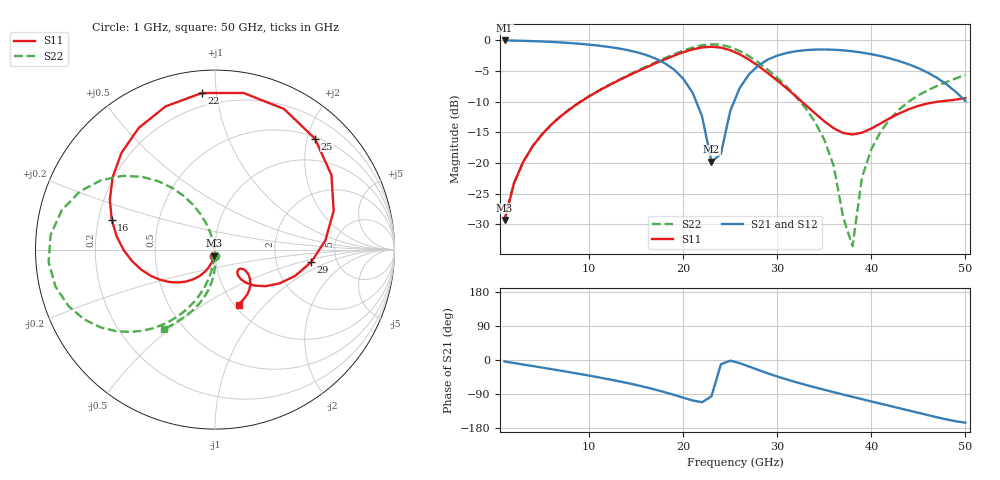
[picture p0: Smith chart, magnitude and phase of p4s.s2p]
! Impedora 0.10.0 via model, case p4s (fullwave/cases.json), 2026-11-19
! Via with a stub: port at the third plane, open stub through a 1.2 mm plane pair: ports in the antipads.
! Ports: 1 = upper end, 2 = lower end, 50 ohm.
! Compared with the fine 3D mesh.
# Hz S RI R 50
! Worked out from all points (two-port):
!   50 points, 1 GHz to 50 GHz, reference 50 ohm
!   highest |S21| = -0.01 dB at 1 GHz (marker M1); lowest = -19.8 dB at 23 GHz (marker M2)
!   |S21| within 3 dB of the highest: start of sweep to 17.11 GHz; 29.16 GHz to 42.14 GHz (12.97 GHz wide, 36.4 % of centre)
!   lowest |S11| = -29.3 dB at 1 GHz (marker M3), VSWR 1.07, Z = 49.4 - j3.37 ohm
!   |S11| at or under -10 dB: start of sweep to 9.091 GHz; 32.61 GHz to 47.1 GHz (14.49 GHz wide, 36.3 % of centre)
!   |S22| runs from -33.6 to -0.6 dB; largest |S21 - S12| = 0
!   S11 on the Smith chart (normalised r, x): 1 GHz: 0.99, -0.07; 16 GHz: 0.26, +0.13; 22 GHz: 0.12, +0.91; 25 GHz: 0.53, +2.14; 29 GHz: 3.22, -0.63; 50 GHz: 1.04, -0.73
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1e9  -0.00445 -0.034  0.9959 -0.0696  0.9959 -0.0696  -0.00234 -0.0342
2e9  -0.0156 -0.0668  0.9858 -0.1384  0.9858 -0.1384  -0.00726 -0.0682
4e9  -0.0574 -0.1248  0.9475 -0.2722  0.9475 -0.2722  -0.0249 -0.1351
1e10  -0.3067 -0.168  0.6939 -0.6084  0.6939 -0.6084  -0.1447 -0.3202
1.6e10  -0.5754 0.1665  0.2386 -0.7242  0.2386 -0.7242  -0.4068 -0.4526
1.8e10  -0.5706 0.403  0.0604 -0.6511  0.0604 -0.6511  -0.5513 -0.4544
2e10  -0.4246 0.6781  -0.0801 -0.4799  -0.0801 -0.4799  -0.7276 -0.3894
2.2e10  -0.0738 0.8724  -0.0877 -0.2232  -0.0877 -0.2232  -0.8885 -0.2068
2.3e10  0.1593 0.8727  -0.0104 -0.1017  -0.0104 -0.1017  -0.9269 -0.0689
2.4e10  0.3846 0.7836  0.1166 -0.0228  0.1166 -0.0228  -0.916 0.0817
2.5e10  0.557 0.6182  0.2666 -0.00819  0.2666 -0.00819  -0.8533 0.2202
2.6e10  0.6489 0.4147  0.4051 -0.0592  0.4051 -0.0592  -0.7519 0.3249
2.9e10  0.536 -0.0695  0.5698 -0.4036  0.5698 -0.4036  -0.4076 0.4055
3.1e10  0.3586 -0.1888  0.4941 -0.6161  0.4941 -0.6161  -0.2392 0.3441
3.4e10  0.1741 -0.1856  0.2578 -0.8005  0.2578 -0.8005  -0.0823 0.2
3.6e10  0.1276 -0.1433  0.0741 -0.8354  0.0741 -0.8354  -0.0247 0.0912
3.7e10  0.1237 -0.1245  -0.0165 -0.8289  -0.0165 -0.8289  -0.00801 0.0352
3.8e10  0.1294 -0.1114  -0.103 -0.8079  -0.103 -0.8079  0.000755 -0.021
3.9e10  0.1416 -0.1058  -0.1834 -0.7737  -0.1834 -0.7737  0.00179 -0.0762
4.2e10  0.1865 -0.1388  -0.3702 -0.6079  -0.3702 -0.6079  -0.0374 -0.2265
4.6e10  0.1815 -0.2463  -0.4489 -0.3102  -0.4489 -0.3102  -0.1519 -0.3617
5e10  0.133 -0.311  -0.3099 -0.0809  -0.3099 -0.0809  -0.2819 -0.442
